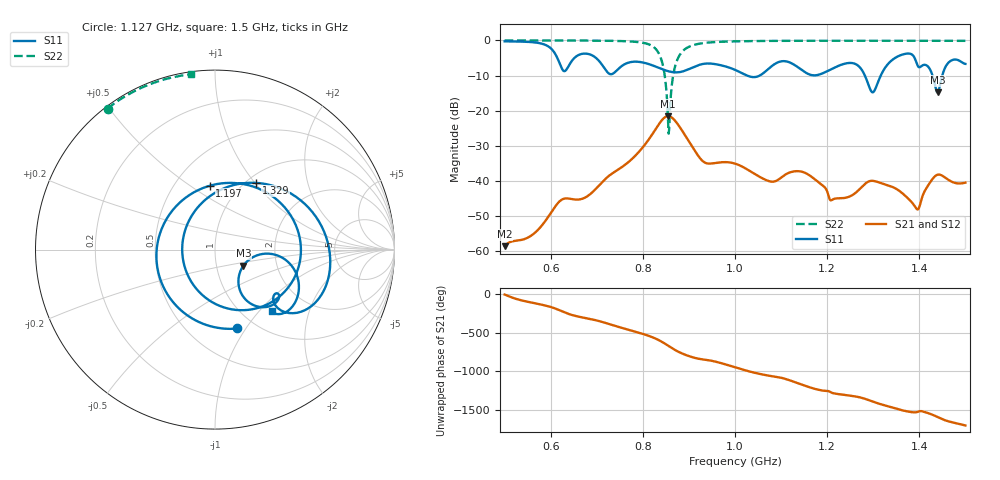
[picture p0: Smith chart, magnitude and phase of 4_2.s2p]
! TOUCHSTONE file generated by CST MICROWAVE STUDIO
! Date and time: Thu Feb 11 19:31:15 2021
! Project name: Scenario_1_Planar_Body_Tissue_Out_of_Line.cst
! Parameters = {L_HA=400; Ltissue=1000; MT=2.54; Rad_Dielectric=30; Rad_Lower=7.3; Rad_Upper=30; Wtissue=1000; a_HA=580; a_WG=246; b_HA=500; b_WG=121; c_HA=0; c_WG=187; d_feed=85; dx1=346; dy1=-294.1; h_feed=15; h_lower=18; h_upper=40; hfat=3; hgap=25; hmuscle=50; hskin=1.5}
! Header version: 2018
! Port assignment regex: !\s*Touchstone port\s*([0-9]+)\s*=\s*(CST MWS port|CST DS port)\s*([0-9]+|Zmin|Zmax)\s*\(\"(.*)\"\)(\s*mode\s*([0-9]+))?.*
! Touchstone port assignment:
! Touchstone port 1 = CST MWS port 1 ("")
! Touchstone port 2 = CST MWS port 2 ("")
# GHz S DB R 50
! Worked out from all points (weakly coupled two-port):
!   1003 points, 500 MHz to 1.5 GHz, reference 50 ohm
!   highest |S21| = -21.53 dB at 855 MHz (marker M1); lowest = -58.5 dB at 500 MHz (marker M2)
!   lowest |S11| = -14.8 dB at 1.44 GHz (marker M3), VSWR 1.44, Z = 67.5 - j12.4 ohm
!   |S11| at or under -10 dB: 1.026 GHz to 1.053 GHz (26.94 MHz wide, 2.59 % of centre); 1.282 GHz to 1.316 GHz (34.4 MHz wide, 2.65 % of centre); 1.429 GHz to 1.45 GHz (21.11 MHz wide, 1.47 % of centre)
!   |S22| runs from -26.5 to 0.0 dB; largest |S21 - S12| = 2.6e-05
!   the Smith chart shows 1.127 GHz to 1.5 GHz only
!   S11 on the Smith chart (normalised r, x): 1.127 GHz: 0.83, -0.92; 1.197 GHz: 0.74, +0.60; 1.329 GHz: 1.11, +1.02; 1.5 GHz: 1.34, -1.16
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0.5  -0.26 -121.7  -58.51 -1.4  -58.51 -1.4  -0.01 151.1
0.667  -3.85 158.7  -45.09 62.5  -45.09 62.5  -0.04 138.3
0.718  -8.17 26.9  -39.47 -9.3  -39.47 -9.3  -0.09 132.5
0.743  -8.58 -98.5  -37.01 -55.5  -37.01 -55.5  -0.15 128.7
0.772  -6.20 175.2  -34.23 -104.5  -34.23 -104.5  -0.28 122.4
0.834  -7.77 38.2  -23.97 126.8  -23.97 126.8  -3.53 81.1
0.855  -8.75 -16.5  -21.53 51.5  -21.53 51.5  -23.73 -1.8
0.907  -7.75 -176.6  -30.16 -96.6  -30.16 -96.6  -1.44 163.4
0.939  -6.57 84.2  -34.95 -133.4  -34.95 -133.4  -0.64 151.4
1  -8.36 -63.4  -35.03 131.4  -35.03 131.4  -0.27 140.1
1.042  -10.43 -177.4  -37.90 60.8  -37.90 60.8  -0.18 135.1
1.076  -7.71 74.3  -40.09 19.7  -40.09 19.7  -0.14 131.8
1.127  -6.80 -74.1  -37.27 -55.6  -37.27 -55.6  -0.11 127.3
1.167  -9.87 170.2  -38.86 -138.8  -38.86 -138.8  -0.09 124.1
1.197  -8.95 94.7  -42.14 -175.8  -42.13 -175.7  -0.09 121.8
1.246  -6.43 6.2  -44.53 125.0  -44.53 125.0  -0.09 118.1
1.276  -8.53 -64.3  -41.55 91.9  -41.55 91.9  -0.08 115.8
1.329  -7.19 58.2  -41.09 -11.7  -41.09 -11.7  -0.09 111.8
1.334  -6.42 48.5  -41.30 -20.3  -41.30 -20.3  -0.09 111.4
1.388  -4.57 -35.9  -46.75 -95.3  -46.75 -95.3  -0.09 107.3
1.44  -14.81 -29.3  -38.18 -158.3  -38.18 -158.3  -0.11 103.1
1.5  -6.67 -47.2  -40.45 93.8  -40.45 93.8  -0.13 97.9
